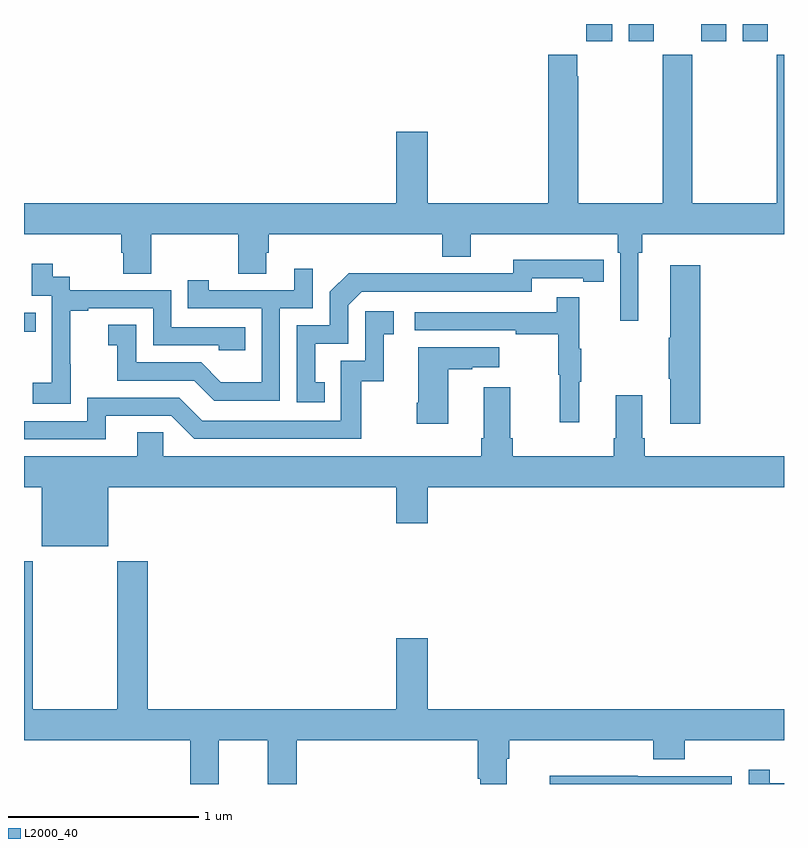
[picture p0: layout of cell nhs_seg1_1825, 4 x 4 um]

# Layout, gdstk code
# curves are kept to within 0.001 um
import gdstk
lib = gdstk.Library(unit=1e-6, precision=1e-09)
def R(c, l, rs):  # rectangles x0, y0, x1, y1
    for r in rs: c.add(gdstk.rectangle(r[:2], r[2:], *l))
def P(c, l, *ps):  # polygons
    for p in ps: c.add(gdstk.Polygon(p, *l))
L2000_40 = (2000, 40)

nhs_seg1_1825 = lib.new_cell('nhs_seg1_1825')
R(nhs_seg1_1825, L2000_40, [(211,524.578,211.061,524.679), (213.959,526.107,214.096,526.199), (214.184,526.107,214.315,526.199), (214.565,526.107,214.696,526.199), (214.784,526.107,214.915,526.199)])
P(nhs_seg1_1825, L2000_40, [(214.234,524.996),(214.253,524.996),(214.253,525.092),(215,525.092),(215,526.036),(214.963,526.036),(214.963,525.256),(214.518,525.256),(214.518,526.036),(214.363,526.036),(214.363,525.256),(213.918,525.256),(213.918,525.923),(213.913,525.923),(213.913,526.036),(213.758,526.036),(213.758,525.256),(213.124,525.256),(213.124,525.631),(212.96,525.631),(212.96,525.256),(211,525.256),(211,525.092),(211.511,525.092),(211.511,524.994),(211.523,524.994),(211.523,524.884),(211.671,524.884),(211.671,525.092),(212.128,525.092),(212.128,524.884),(212.275,524.884),(212.275,524.994),(212.288,524.994),(212.288,525.092),(213.2,525.092),(213.2,524.975),(213.352,524.975),(213.352,525.092),(214.124,525.092),(214.124,524.996),(214.137,524.996),(214.137,524.637),(214.234,524.637)],
  [(212.582,524.313),(212.533,524.313),(212.533,524.517),(212.706,524.517),(212.706,524.718),(212.778,524.79),(213.672,524.79),(213.672,524.862),(213.944,524.862),(213.944,524.842),(214.052,524.842),(214.052,524.958),(213.576,524.959),(213.576,524.886),(213.116,524.886),(213.116,524.888),(212.708,524.888),(212.61,524.79),(212.61,524.613),(212.436,524.613),(212.436,524.208),(212.582,524.208)],
  [(211.245,524.407),(211.244,524.407),(211.244,524.691),(211.339,524.691),(211.339,524.703),(211.68,524.703),(211.68,524.508),(212.025,524.508),(212.025,524.481),(212.165,524.481),(212.165,524.604),(211.776,524.604),(211.776,524.799),(211.242,524.799),(211.242,524.868),(211.15,524.868),(211.15,524.938),(211.041,524.938),(211.041,524.769),(211.146,524.769),(211.146,524.54),(211.145,524.54),(211.145,524.311),(211.047,524.311),(211.047,524.201),(211.245,524.201)],
  [(214.559,524.929),(214.4,524.929),(214.4,524.549),(214.393,524.549),(214.393,524.332),(214.4,524.332),(214.4,524.094),(214.559,524.094)],
  [(212.346,524.703),(212.52,524.703),(212.52,524.911),(212.423,524.911),(212.423,524.799),(211.972,524.799),(211.972,524.851),(211.861,524.851),(211.861,524.703),(212.25,524.703),(212.25,524.314),(212.036,524.314),(211.932,524.418),(211.59,524.418),(211.59,524.617),(211.443,524.617),(211.443,524.507),(211.492,524.507),(211.492,524.322),(211.895,524.322),(212,524.217),(212.346,524.217)],
  [(213.923,524.315),(213.934,524.315),(213.934,524.489),(213.923,524.489),(213.923,524.761),(213.805,524.761),(213.805,524.682),(213.057,524.682),(213.057,524.586),(213.589,524.586),(213.589,524.566),(213.813,524.566),(213.813,524.352),(213.82,524.352),(213.82,524.103),(213.923,524.103)],
  [(211.429,524.136),(211.776,524.136),(211.896,524.016),(212.776,524.016),(212.776,524.319),(212.894,524.319),(212.894,524.565),(212.947,524.565),(212.947,524.686),(212.796,524.686),(212.796,524.427),(212.667,524.427),(212.667,524.112),(211.938,524.112),(211.818,524.232),(211.332,524.232),(211.332,524.109),(211,524.109),(211,524.013),(211.429,524.013)],
  [(213.232,524.383),(213.359,524.383),(213.359,524.393),(213.502,524.393),(213.502,524.497),(213.074,524.497),(213.074,524.206),(213.067,524.206),(213.067,524.094),(213.232,524.094)],
  [(211.444,523.76),(212.96,523.76),(212.96,523.572),(213.124,523.572),(213.124,523.76),(215,523.76),(215,523.924),(214.268,523.924),(214.268,524.02),(214.255,524.02),(214.255,524.245),(214.115,524.245),(214.115,524.02),(214.103,524.02),(214.103,523.924),(213.572,523.924),(213.572,524.02),(213.559,524.02),(213.559,524.287),(213.419,524.287),(213.419,524.02),(213.407,524.02),(213.407,523.924),(211.734,523.924),(211.734,524.051),(211.595,524.051),(211.595,523.924),(211,523.924),(211,523.76),(211.094,523.76),(211.094,523.451),(211.444,523.451)],
  [(212.026,522.428),(212.282,522.428),(212.282,522.199),(212.435,522.199),(212.435,522.428),(213.389,522.428),(213.389,522.226),(213.401,522.226),(213.401,522.199),(213.541,522.199),(213.541,522.332),(213.554,522.332),(213.554,522.428),(214.313,522.428),(214.313,522.329),(214.478,522.329),(214.478,522.428),(215,522.428),(215,522.592),(213.124,522.592),(213.124,522.967),(212.96,522.967),(212.96,522.592),(211.652,522.592),(211.652,523.371),(211.492,523.371),(211.492,522.592),(211.047,522.592),(211.047,523.371),(211,523.371),(211,522.428),(211.874,522.428),(211.874,522.199),(212.026,522.199)],
  [(215,522.204),(214.924,522.204),(214.924,522.274),(214.815,522.274),(214.815,522.199),(215,522.199)],
  [(214.725,522.24),(214.229,522.24),(214.229,522.242),(213.766,522.242),(213.766,522.199),(214.725,522.199)])

lib.write_gds('nhs_seg1_1825.gds')
